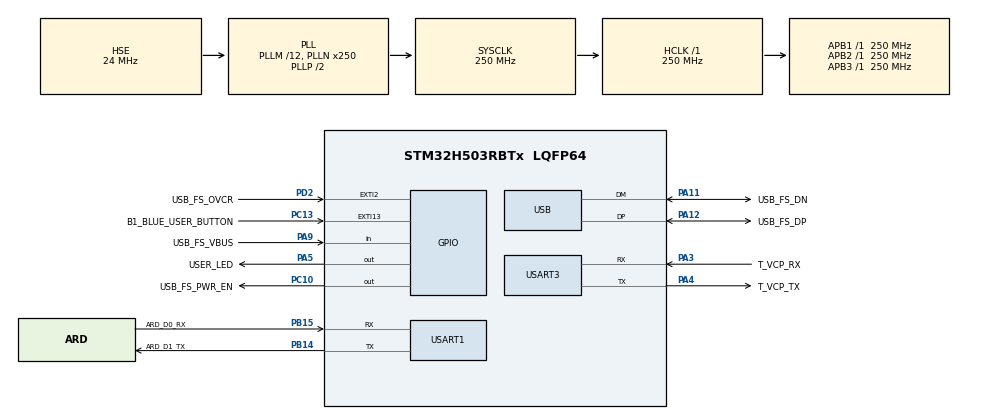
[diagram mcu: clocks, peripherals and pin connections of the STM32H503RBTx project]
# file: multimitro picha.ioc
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Mcu.Family=STM32H5
Mcu.Name=STM32H503RBTx
Mcu.Package=LQFP64
NVIC.PriorityGroup=NVIC_PRIORITYGROUP_4
NVIC.TIM2_IRQn=true\:0\:0\:false\:false\:true\:true\:true\:true
PA11.GPIO_Label=USB_FS_DN
PA11.Mode=Device
PA11.Signal=USB_DM
PA12.GPIO_Label=USB_FS_DP
PA12.Mode=Device
PA12.Signal=USB_DP
PA13(JTMS/SWDIO).GPIO_Label=T_SWDIO
PA13(JTMS/SWDIO).Mode=JTAG_4_pins
PA13(JTMS/SWDIO).Signal=DEBUG_JTMS-SWDIO
PA14(JTCK/SWCLK).GPIO_Label=T_SWCLK
PA14(JTCK/SWCLK).Mode=JTAG_4_pins
PA14(JTCK/SWCLK).Signal=DEBUG_JTCK-SWCLK
PA15(JTDI).GPIO_Label=T_JTDI
PA15(JTDI).Mode=JTAG_4_pins
PA15(JTDI).Signal=DEBUG_JTDI
PA3.GPIO_Label=T_VCP_RX
PA3.Mode=Asynchronous
PA3.Signal=USART3_RX
PA4.GPIO_Label=T_VCP_TX
PA4.Mode=Asynchronous
PA4.Signal=USART3_TX
PA5.GPIO_Label=USER_LED
PA5.Signal=GPIO_Output
PA9.GPIO_Label=USB_FS_VBUS
PA9.Signal=GPIO_Input
PB14.GPIO_Label=ARD_D1_TX
PB14.Mode=Asynchronous
PB14.Signal=USART1_TX
PB15.GPIO_Label=ARD_D0_RX
PB15.Mode=Asynchronous
PB15.Signal=USART1_RX
PB3(JTDO/TRACESWO).GPIO_Label=T_SWO
PB3(JTDO/TRACESWO).Mode=JTAG_4_pins
PB3(JTDO/TRACESWO).Signal=DEBUG_JTDO-SWO
PC10.GPIO_Label=USB_FS_PWR_EN
PC10.Signal=GPIO_Output
PC13.GPIO_Label=B1_BLUE_USER_BUTTON
PC13.Signal=GPXTI13
PC14-OSC32_IN(OSC32_IN).Mode=LSE-External-Oscillator
PC14-OSC32_IN(OSC32_IN).Signal=RCC_OSC32_IN
PC15-OSC32_OUT(OSC32_OUT).Mode=LSE-External-Oscillator
PC15-OSC32_OUT(OSC32_OUT).Signal=RCC_OSC32_OUT
PD2.GPIO_Label=USB_FS_OVCR
PD2.Signal=GPXTI2
PH0-OSC_IN(PH0).Mode=HSE-External-Oscillator
PH0-OSC_IN(PH0).Signal=RCC_OSC_IN
PH1-OSC_OUT(PH1).Mode=HSE-External-Oscillator
PH1-OSC_OUT(PH1).Signal=RCC_OSC_OUT
ProjectManager.HeapSize=0x200
ProjectManager.StackSize=0x400
ProjectManager.TargetToolchain=STM32CubeIDE
RCC.ADCFreq_Value=250000000
RCC.AHBFreq_Value=250000000
RCC.APB1Freq_Value=250000000
RCC.APB1TimFreq_Value=250000000
RCC.APB2Freq_Value=250000000
RCC.APB2TimFreq_Value=250000000
RCC.APB3Freq_Value=250000000
RCC.CSI_VALUE=4000000
RCC.CortexFreq_Value=250000000
RCC.EPOD_VALUE=24000000
RCC.HCLKFreq_Value=250000000
RCC.HSE_VALUE=24000000
RCC.HSI48_VALUE=48000000
RCC.HSIDiv=RCC_HSI_DIV1
RCC.HSI_VALUE=64000000
RCC.LSIRC_VALUE=32000
RCC.PLLM=12
RCC.PLLN=250
RCC.PLLSourceVirtual=RCC_PLL1_SOURCE_HSE
RCC.SYSCLKFreq_VALUE=250000000
RCC.SYSCLKSource=RCC_SYSCLKSOURCE_PLLCLK
RCC.USBFreq_Value=48000000
RCC.VCOOutputFreq_Value=500000000
TIM2.PeriodNoDither=500
TIM2.Prescaler=250-1
USART1.VirtualMode=VM_ASYNC
USART3.VirtualMode=VM_ASYNC
USB.VirtualMode=Device_Only
VP_BOOTPATH_VS_BOOTPATH.Mode=BP_Activate
VP_ICACHE_VS_ICACHE.Mode=DefaultMode
VP_MEMORYMAP_VS_MEMORYMAP.Mode=CurAppReg
VP_PWR_VS_DBSignals.Mode=DisableDeadBatterySignals
VP_PWR_VS_LPOM.Mode=PowerOptimisation
VP_PWR_VS_SECSignals.Mode=Security/Privilege
VP_TIM2_VS_ClockSourceINT.Mode=Internal
board=NUCLEO-H503RB

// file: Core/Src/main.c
/* USER CODE BEGIN Header */
/**
  ******************************************************************************
  * @file           : main.c
  * @brief          : Main program body
  ******************************************************************************
  * @attention
  *
  * Copyright (c) 2024 STMicroelectronics.
  * All rights reserved.
  *
  * This software is licensed under terms that can be found in the LICENSE file
  * in the root directory of this software component.
  * If no LICENSE file comes with this software, it is provided AS-IS.
  *
  ******************************************************************************
  */
/* USER CODE END Header */
#include "main.h"

/* USER CODE BEGIN Includes */
#include <stdio.h>
#include <stdlib.h>
#include <math.h>
#include "i2c-lcd.h"
/* USER CODE END Includes */

/* USER CODE BEGIN PD */
#define PUERTO_PB_A   GPIOA
#define PIN_PB_A 	  GPIO_PIN_0
//#define PUERTO_PB_A   GPIOC
//#define PIN_PB_A 	  GPIO_PIN_13
//#define PUERTO_PB1    GPIOA
//#define PIN_PB1 	  GPIO_PIN_0
#define TRUE	  1
#define FALSE     0
#define ESTADO_MEDIDOR   0
#define ESTADO_INICIAL   1
#define ESTADO_INTERMEDIO   2
#define MEDIDOR_ON   1
#define MEDIDOR_OFF  0

/* USER CODE END PD */

TIM_HandleTypeDef htim2;

UART_HandleTypeDef huart1;
UART_HandleTypeDef huart3;

PCD_HandleTypeDef hpcd_USB_DRD_FS;

/* USER CODE BEGIN PV */
int Func_ESTADO_INICIAL(void);
int Func_ESTADO_MEDIDOR(void);
int Func_ESTADO_INTERMEDIO(void);
int Func_LCD(int);
uint32_t MED_ADC = 0;
float CONVERT_ADC = 0.0;
float RMS = 0.0;
float Media = 0.0;
float VOLTAJE = 0.00;
char VOL_STR[5];
unsigned int Estado_St;
unsigned int Estado_Medidor;
//unsigned int cont_Vol = 0;

volatile int ESTADO_ANTERIOR = ESTADO_INICIAL;
volatile int ESTADO_ACTUAL = ESTADO_INICIAL;
volatile int ESTADO_SIGUIENTE = ESTADO_INICIAL;
volatile struct INOUT
{
    unsigned int Sa:1;
} inout;
/* USER CODE END PV */

void SystemClock_Config(void);
static void MX_GPIO_Init(void);
static void MX_ICACHE_Init(void);
static void MX_USART1_UART_Init(void);
static void MX_USART3_UART_Init(void);
static void MX_USB_PCD_Init(void);
static void MX_MEMORYMAP_Init(void);
static void MX_TIM2_Init(void);
/* USER CODE BEGIN PFP */

#ifdef __GNUC__
#define PUTCHAR_PROTOTYPE int __io_putchar(int ch)
#else
#define PUTCHAR_PROTOTYPE int fputc(int ch, FILE *f)
#endif

PUTCHAR_PROTOTYPE
{
  HAL_UART_Transmit(&huart2, (uint8_t *)&ch, 1, HAL_MAX_DELAY);
  return ch;
}

/* USER CODE END PFP */

int main(void)
{

  /* MCU Configuration--------------------------------------------------------*/

  /* Reset of all peripherals, Initializes the Flash interface and the Systick. */
  HAL_Init();

  /* Configure the system clock */
  SystemClock_Config();

  /* Initialize all configured peripherals */
  MX_GPIO_Init();
  MX_ICACHE_Init();
  MX_USART1_UART_Init();
  MX_USART3_UART_Init();
  MX_USB_PCD_Init();
  MX_MEMORYMAP_Init();
  MX_TIM2_Init();
  /* USER CODE BEGIN 2 */
  HAL_TIM_Base_Start_IT(&htim2);
  lcd_init();
  /* USER CODE END 2 */

  /* Infinite loop */
  /* USER CODE BEGIN WHILE */
  while (1)
  {
	  if(ESTADO_SIGUIENTE == ESTADO_INICIAL)
		{
			ESTADO_SIGUIENTE = Func_ESTADO_INICIAL();
		}
	  if(ESTADO_SIGUIENTE == ESTADO_INTERMEDIO)
		{
			ESTADO_SIGUIENTE = Func_ESTADO_INTERMEDIO();
		}

	  if(ESTADO_SIGUIENTE == ESTADO_MEDIDOR)
		{
			ESTADO_SIGUIENTE = Func_ESTADO_MEDIDOR();
		}

    /* USER CODE END WHILE */

  }
}

void SystemClock_Config(void)
{
  RCC_OscInitTypeDef RCC_OscInitStruct = {0};
  RCC_ClkInitTypeDef RCC_ClkInitStruct = {0};

  /** Configure the main internal regulator output voltage
  */
  __HAL_PWR_VOLTAGESCALING_CONFIG(PWR_REGULATOR_VOLTAGE_SCALE0);

  while(!__HAL_PWR_GET_FLAG(PWR_FLAG_VOSRDY)) {}

  /** Initializes the RCC Oscillators according to the specified parameters
  * in the RCC_OscInitTypeDef structure.
  */
  RCC_OscInitStruct.OscillatorType = RCC_OSCILLATORTYPE_HSI48|RCC_OSCILLATORTYPE_HSE;
  RCC_OscInitStruct.HSEState = RCC_HSE_ON;
  RCC_OscInitStruct.HSI48State = RCC_HSI48_ON;
  RCC_OscInitStruct.PLL.PLLState = RCC_PLL_ON;
  RCC_OscInitStruct.PLL.PLLSource = RCC_PLL1_SOURCE_HSE;
  RCC_OscInitStruct.PLL.PLLM = 12;
  RCC_OscInitStruct.PLL.PLLN = 250;
  RCC_OscInitStruct.PLL.PLLP = 2;
  RCC_OscInitStruct.PLL.PLLQ = 2;
  RCC_OscInitStruct.PLL.PLLR = 2;
  RCC_OscInitStruct.PLL.PLLRGE = RCC_PLL1_VCIRANGE_1;
  RCC_OscInitStruct.PLL.PLLVCOSEL = RCC_PLL1_VCORANGE_WIDE;
  RCC_OscInitStruct.PLL.PLLFRACN = 0;
  if (HAL_RCC_OscConfig(&RCC_OscInitStruct) != HAL_OK)
  {
    Error_Handler();
  }

  /** Initializes the CPU, AHB and APB buses clocks
  */
  RCC_ClkInitStruct.ClockType = RCC_CLOCKTYPE_HCLK|RCC_CLOCKTYPE_SYSCLK
                              |RCC_CLOCKTYPE_PCLK1|RCC_CLOCKTYPE_PCLK2
                              |RCC_CLOCKTYPE_PCLK3;
  RCC_ClkInitStruct.SYSCLKSource = RCC_SYSCLKSOURCE_PLLCLK;
  RCC_ClkInitStruct.AHBCLKDivider = RCC_SYSCLK_DIV1;
  RCC_ClkInitStruct.APB1CLKDivider = RCC_HCLK_DIV1;
  RCC_ClkInitStruct.APB2CLKDivider = RCC_HCLK_DIV1;
  RCC_ClkInitStruct.APB3CLKDivider = RCC_HCLK_DIV1;

  if (HAL_RCC_ClockConfig(&RCC_ClkInitStruct, FLASH_LATENCY_5) != HAL_OK)
  {
    Error_Handler();
  }
}

static void MX_ICACHE_Init(void)
{

  /** Enable instruction cache (default 2-ways set associative cache)
  */
  if (HAL_ICACHE_Enable() != HAL_OK)
  {
    Error_Handler();
  }

}

static void MX_MEMORYMAP_Init(void)
{

}

static void MX_TIM2_Init(void)
{

  TIM_ClockConfigTypeDef sClockSourceConfig = {0};
  TIM_MasterConfigTypeDef sMasterConfig = {0};

  htim2.Instance = TIM2;
  htim2.Init.Prescaler = 250-1;
  htim2.Init.CounterMode = TIM_COUNTERMODE_UP;
  htim2.Init.Period = 500;
  htim2.Init.ClockDivision = TIM_CLOCKDIVISION_DIV1;
  htim2.Init.AutoReloadPreload = TIM_AUTORELOAD_PRELOAD_DISABLE;
  if (HAL_TIM_Base_Init(&htim2) != HAL_OK)
  {
    Error_Handler();
  }
  sClockSourceConfig.ClockSource = TIM_CLOCKSOURCE_INTERNAL;
  if (HAL_TIM_ConfigClockSource(&htim2, &sClockSourceConfig) != HAL_OK)
  {
    Error_Handler();
  }
  sMasterConfig.MasterOutputTrigger = TIM_TRGO_RESET;
  sMasterConfig.MasterSlaveMode = TIM_MASTERSLAVEMODE_DISABLE;
  if (HAL_TIMEx_MasterConfigSynchronization(&htim2, &sMasterConfig) != HAL_OK)
  {
    Error_Handler();
  }

}

static void MX_USART1_UART_Init(void)
{

  huart1.Instance = USART1;
  huart1.Init.BaudRate = 115200;
  huart1.Init.WordLength = UART_WORDLENGTH_8B;
  huart1.Init.StopBits = UART_STOPBITS_1;
  huart1.Init.Parity = UART_PARITY_NONE;
  huart1.Init.Mode = UART_MODE_TX_RX;
  huart1.Init.HwFlowCtl = UART_HWCONTROL_NONE;
  huart1.Init.OverSampling = UART_OVERSAMPLING_16;
  huart1.Init.OneBitSampling = UART_ONE_BIT_SAMPLE_DISABLE;
  huart1.Init.ClockPrescaler = UART_PRESCALER_DIV1;
  huart1.AdvancedInit.AdvFeatureInit = UART_ADVFEATURE_NO_INIT;
  if (HAL_UART_Init(&huart1) != HAL_OK)
  {
    Error_Handler();
  }
  if (HAL_UARTEx_SetTxFifoThreshold(&huart1, UART_TXFIFO_THRESHOLD_1_8) != HAL_OK)
  {
    Error_Handler();
  }
  if (HAL_UARTEx_SetRxFifoThreshold(&huart1, UART_RXFIFO_THRESHOLD_1_8) != HAL_OK)
  {
    Error_Handler();
  }
  if (HAL_UARTEx_DisableFifoMode(&huart1) != HAL_OK)
  {
    Error_Handler();
  }

}

static void MX_USART3_UART_Init(void)
{

  huart3.Instance = USART3;
  huart3.Init.BaudRate = 115200;
  huart3.Init.WordLength = UART_WORDLENGTH_8B;
  huart3.Init.StopBits = UART_STOPBITS_1;
  huart3.Init.Parity = UART_PARITY_NONE;
  huart3.Init.Mode = UART_MODE_TX_RX;
  huart3.Init.HwFlowCtl = UART_HWCONTROL_NONE;
  huart3.Init.OverSampling = UART_OVERSAMPLING_16;
  huart3.Init.OneBitSampling = UART_ONE_BIT_SAMPLE_DISABLE;
  huart3.Init.ClockPrescaler = UART_PRESCALER_DIV1;
  huart3.AdvancedInit.AdvFeatureInit = UART_ADVFEATURE_NO_INIT;
  if (HAL_UART_Init(&huart3) != HAL_OK)
  {
    Error_Handler();
  }
  if (HAL_UARTEx_SetTxFifoThreshold(&huart3, UART_TXFIFO_THRESHOLD_1_8) != HAL_OK)
  {
    Error_Handler();
  }
  if (HAL_UARTEx_SetRxFifoThreshold(&huart3, UART_RXFIFO_THRESHOLD_1_8) != HAL_OK)
  {
    Error_Handler();
  }
  if (HAL_UARTEx_DisableFifoMode(&huart3) != HAL_OK)
  {
    Error_Handler();
  }

}

static void MX_USB_PCD_Init(void)
{

  hpcd_USB_DRD_FS.Instance = USB_DRD_FS;
  hpcd_USB_DRD_FS.Init.dev_endpoints = 8;
  hpcd_USB_DRD_FS.Init.speed = USBD_FS_SPEED;
  hpcd_USB_DRD_FS.Init.phy_itface = PCD_PHY_EMBEDDED;
  hpcd_USB_DRD_FS.Init.Sof_enable = DISABLE;
  hpcd_USB_DRD_FS.Init.low_power_enable = DISABLE;
  hpcd_USB_DRD_FS.Init.lpm_enable = DISABLE;
  hpcd_USB_DRD_FS.Init.battery_charging_enable = DISABLE;
  hpcd_USB_DRD_FS.Init.vbus_sensing_enable = DISABLE;
  hpcd_USB_DRD_FS.Init.bulk_doublebuffer_enable = DISABLE;
  hpcd_USB_DRD_FS.Init.iso_singlebuffer_enable = DISABLE;
  if (HAL_PCD_Init(&hpcd_USB_DRD_FS) != HAL_OK)
  {
    Error_Handler();
  }

}

static void MX_GPIO_Init(void)
{
  GPIO_InitTypeDef GPIO_InitStruct = {0};

  /* GPIO Ports Clock Enable */
  __HAL_RCC_GPIOC_CLK_ENABLE();
  __HAL_RCC_GPIOH_CLK_ENABLE();
  __HAL_RCC_GPIOA_CLK_ENABLE();
  __HAL_RCC_GPIOB_CLK_ENABLE();
  __HAL_RCC_GPIOD_CLK_ENABLE();

  /*Configure GPIO pin Output Level */
  HAL_GPIO_WritePin(USER_LED_GPIO_Port, USER_LED_Pin, GPIO_PIN_RESET);

  /*Configure GPIO pin Output Level */
  HAL_GPIO_WritePin(USB_FS_PWR_EN_GPIO_Port, USB_FS_PWR_EN_Pin, GPIO_PIN_RESET);

  /*Configure GPIO pin : B1_BLUE_USER_BUTTON_Pin */
  GPIO_InitStruct.Pin = B1_BLUE_USER_BUTTON_Pin;
  GPIO_InitStruct.Mode = GPIO_MODE_IT_RISING;
  GPIO_InitStruct.Pull = GPIO_NOPULL;
  HAL_GPIO_Init(B1_BLUE_USER_BUTTON_GPIO_Port, &GPIO_InitStruct);

  /*Configure GPIO pin : USER_LED_Pin */
  GPIO_InitStruct.Pin = USER_LED_Pin;
  GPIO_InitStruct.Mode = GPIO_MODE_OUTPUT_PP;
  GPIO_InitStruct.Pull = GPIO_NOPULL;
  GPIO_InitStruct.Speed = GPIO_SPEED_FREQ_LOW;
  HAL_GPIO_Init(USER_LED_GPIO_Port, &GPIO_InitStruct);

  /*Configure GPIO pin : USB_FS_VBUS_Pin */
  GPIO_InitStruct.Pin = USB_FS_VBUS_Pin;
  GPIO_InitStruct.Mode = GPIO_MODE_INPUT;
  GPIO_InitStruct.Pull = GPIO_NOPULL;
  HAL_GPIO_Init(USB_FS_VBUS_GPIO_Port, &GPIO_InitStruct);

  /*Configure GPIO pin : USB_FS_PWR_EN_Pin */
  GPIO_InitStruct.Pin = USB_FS_PWR_EN_Pin;
  GPIO_InitStruct.Mode = GPIO_MODE_OUTPUT_PP;
  GPIO_InitStruct.Pull = GPIO_NOPULL;
  GPIO_InitStruct.Speed = GPIO_SPEED_FREQ_LOW;
  HAL_GPIO_Init(USB_FS_PWR_EN_GPIO_Port, &GPIO_InitStruct);

  /*Configure GPIO pin : USB_FS_OVCR_Pin */
  GPIO_InitStruct.Pin = USB_FS_OVCR_Pin;
  GPIO_InitStruct.Mode = GPIO_MODE_IT_RISING;
  GPIO_InitStruct.Pull = GPIO_NOPULL;
  HAL_GPIO_Init(USB_FS_OVCR_GPIO_Port, &GPIO_InitStruct);

}

/* USER CODE BEGIN 4 */

int Func_ESTADO_INICIAL(void)
{
    ESTADO_ANTERIOR = ESTADO_ACTUAL;
    ESTADO_ACTUAL = ESTADO_INICIAL;
    Func_LCD(0);
    Estado_Medidor = MEDIDOR_OFF;
    for(;;)
    {
    	if(inout.Sa == TRUE)
        {
        	return ESTADO_INTERMEDIO;
        }
    }
}

int Func_ESTADO_INTERMEDIO(void)
{
    ESTADO_ANTERIOR = ESTADO_ACTUAL;
    ESTADO_ACTUAL = ESTADO_INTERMEDIO;
    for(;;)
    {
        if((inout.Sa == FALSE) && (ESTADO_ANTERIOR == ESTADO_INICIAL))
        {
        	return ESTADO_MEDIDOR;
        }
        if((inout.Sa == FALSE) && (ESTADO_ANTERIOR == ESTADO_MEDIDOR))
        {
            return ESTADO_INICIAL;
        }
    }
}

int Func_ESTADO_MEDIDOR(void)
{
    ESTADO_ANTERIOR = ESTADO_ACTUAL;
    ESTADO_ACTUAL = ESTADO_MEDIDOR;
    Estado_Medidor = MEDIDOR_ON;
    for(;;)
    {
    	if(inout.Sa == TRUE)
        {
        	return ESTADO_INTERMEDIO;
        }
        Func_LCD(1);
    }
}

int Func_LCD(int Estado_LCD)
{
	lcd_clear();
	if(Estado_LCD == 0)
	{
		lcd_enviar("DISPLAY ON", 0, 2);
	}

	else
	{
		sprintf(VOL_STR, "%.2f", VOLTAJE);
		lcd_enviar("Voltaje:", 0, 2);
		lcd_enviar(VOL_STR, 1, 2);
	}
	return 0;
}

void HAL_TIM_PeriodElapsedCallback(TIM_HandleTypeDef *htim2)
{
	if(HAL_GPIO_ReadPin(PUERTO_PB_A, PIN_PB_A) == TRUE)
	{
		inout.Sa = TRUE;
	}
	else
	{
		inout.Sa = FALSE;
	}

	static unsigned cont_VOL = 0;
	if (Estado_Medidor == MEDIDOR_ON)
	{
		HAL_ADC_Start_IT(&hadc1);
		if (HAL_ADC_PollForConversion(&hadc1, 10) == HAL_OK)
		{
			MED_ADC = HAL_ADC_GetValue(&hadc1);
			//CONVERT_ADC = (MED_ADC/4096.0) * 3.3;
			if (cont_VOL >= 20)
			{
				Media = Media/cont_VOL;
				VOLTAJE = (Media/4096.0) * 3.3;
				//VOLTAJE = sqrtf((RMS/cont_VOL) - (Media * Media));
				cont_VOL = 0;
				Media = 0;
				//RMS = 0;
			}
			else
			{
				//RMS += CONVERT_ADC * CONVERT_ADC;
				Media += MED_ADC;
				cont_VOL++;
				HAL_ADC_Stop_IT(&hadc1);
			}
		}
	}
	else
	{
		HAL_ADC_Stop_IT(&hadc1);
	}

/*	static unsigned cont_LCD = 0;       //Contador LCD
	if (cont_LCD >= 2)
	{
		lcd_clear();
		cont_LCD = 0;
	}
	else
	{
		cont_LCD++;
	}*/

}
/* USER CODE END 4 */

void Error_Handler(void)
{
  __disable_irq();
  while (1)
  {
  }
}
